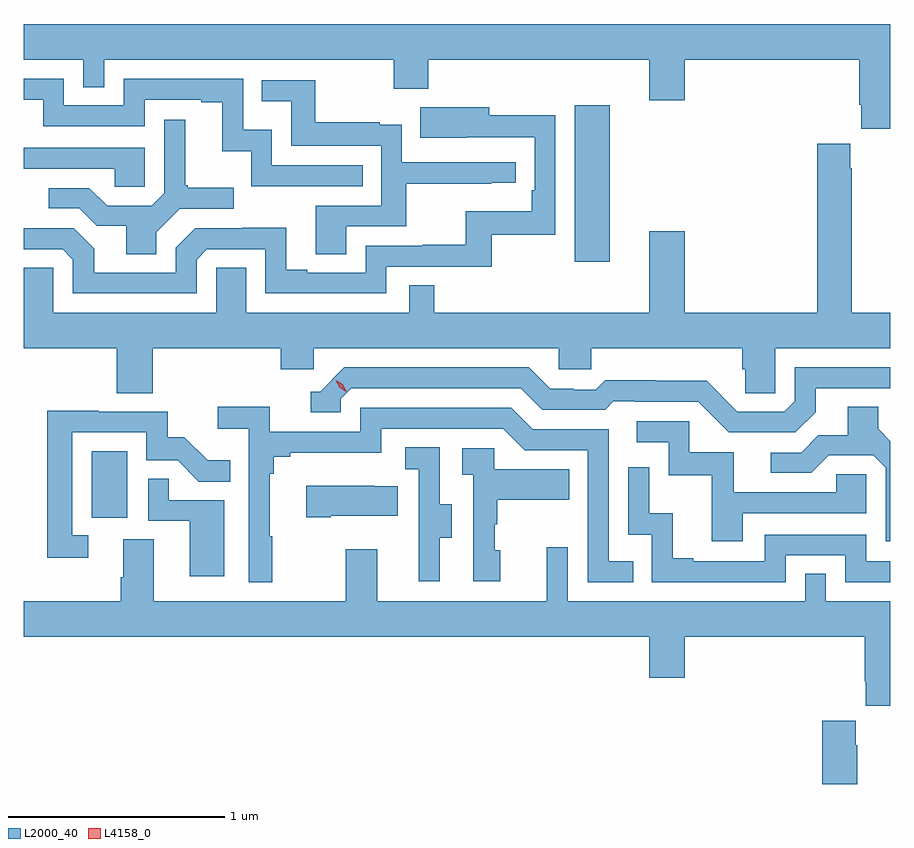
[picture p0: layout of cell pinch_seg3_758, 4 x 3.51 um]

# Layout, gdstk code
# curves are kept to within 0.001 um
import gdstk
lib = gdstk.Library(unit=1e-6, precision=1e-09)
def R(c, l, rs):  # rectangles x0, y0, x1, y1
    for r in rs: c.add(gdstk.rectangle(r[:2], r[2:], *l))
def P(c, l, *ps):  # polygons
    for p in ps: c.add(gdstk.Polygon(p, *l))
L2000_40 = (2000, 40)
L4158_0 = (4158, 0)

pinch_seg3_758 = lib.new_cell('pinch_seg3_758')
R(pinch_seg3_758, L2000_40, [(833.762,737.43,833.926,737.737), (835.991,738.612,836.152,739.333)])
P(pinch_seg3_758, L2000_40, [(833.448,739.544),(833.724,739.544),(833.724,739.417),(833.82,739.417),(833.82,739.544),(835.156,739.544),(835.156,739.409),(835.316,739.409),(835.316,739.544),(836.336,739.544),(836.336,739.356),(836.5,739.356),(836.5,739.544),(837.305,739.544),(837.305,739.336),(837.314,739.336),(837.314,739.224),(837.448,739.224),(837.448,739.708),(833.448,739.708)],
  [(835.013,739.056),(834.594,739.056),(834.594,739.219),(834.462,739.219),(834.462,739.455),(833.91,739.455),(833.91,739.332),(833.634,739.332),(833.634,739.455),(833.448,739.455),(833.448,739.359),(833.538,739.359),(833.538,739.236),(834.006,739.236),(834.006,739.359),(834.269,739.359),(834.269,739.347),(834.365,739.347),(834.365,739.121),(834.498,739.121),(834.498,738.96),(835.013,738.96)],
  [(834.937,738.774),(835.214,738.774),(835.214,738.97),(835.607,738.97),(835.607,738.975),(835.72,738.975),(835.72,739.071),(835.194,739.071),(835.194,739.243),(835.091,739.243),(835.091,739.255),(834.793,739.255),(834.793,739.449),(834.547,739.449),(834.547,739.352),(834.682,739.352),(834.682,739.146),(835.098,739.146),(835.098,738.87),(834.797,738.87),(834.797,738.646),(834.937,738.646)],
  [(834.246,738.621),(834.294,738.669),(834.564,738.669),(834.564,738.465),(835.122,738.465),(835.122,738.588),(835.609,738.588),(835.609,738.735),(835.902,738.735),(835.902,739.286),(835.597,739.286),(835.597,739.324),(835.279,739.324),(835.279,739.184),(835.806,739.185),(835.806,738.94),(835.793,738.94),(835.793,738.844),(835.488,738.844),(835.488,738.689),(835.291,738.689),(835.291,738.684),(835.026,738.684),(835.026,738.561),(834.757,738.561),(834.757,738.574),(834.661,738.574),(834.661,738.767),(834.456,738.767),(834.456,738.765),(834.24,738.765),(834.15,738.675),(834.15,738.561),(833.773,738.561),(833.773,738.671),(833.679,738.765),(833.448,738.765),(833.448,738.669),(833.628,738.669),(833.676,738.621),(833.676,738.465),(834.246,738.465)],
  [(834.061,738.748),(834.168,738.855),(834.418,738.855),(834.418,738.952),(834.205,738.952),(834.205,738.964),(834.193,738.964),(834.193,739.267),(834.096,739.267),(834.096,738.927),(834.039,738.87),(833.833,738.87),(833.752,738.951),(833.565,738.951),(833.565,738.858),(833.706,738.858),(833.786,738.778),(833.921,738.778),(833.921,738.646),(834.061,738.646)],
  [(835.343,738.503),(835.227,738.503),(835.227,738.376),(834.475,738.376),(834.475,738.584),(834.336,738.584),(834.336,738.376),(833.586,738.376),(833.586,738.584),(833.449,738.584),(833.449,738.474),(833.448,738.474),(833.448,738.212),(833.879,738.212),(833.879,738.004),(834.044,738.004),(834.044,738.212),(834.635,738.212),(834.635,738.114),(834.786,738.114),(834.786,738.212),(835.917,738.212),(835.917,738.114),(836.067,738.114),(836.067,738.212),(836.765,738.212),(836.765,738.114),(836.779,738.114),(836.779,738.004),(836.916,738.004),(836.916,738.212),(837.448,738.212),(837.448,738.376),(837.27,738.376),(837.27,739.043),(837.263,739.043),(837.263,739.156),(837.11,739.156),(837.11,738.376),(836.5,738.376),(836.5,738.751),(836.336,738.751),(836.336,738.376),(835.343,738.376)],
  [(834.006,739.137),(833.448,739.137),(833.448,739.041),(833.869,739.041),(833.869,738.957),(834.006,738.957)],
  [(837.103,737.917),(837.103,738.027),(837.448,738.027),(837.448,738.123),(837.006,738.123),(837.006,737.967),(836.958,737.919),(836.742,737.919),(836.6,738.061),(836.364,738.061),(836.364,738.064),(836.131,738.064),(836.089,738.021),(835.986,738.021),(835.986,738.024),(835.879,738.024),(835.78,738.123),(834.927,738.123),(834.816,738.012),(834.773,738.012),(834.773,737.916),(834.912,737.916),(834.912,737.979),(834.96,738.027),(835.743,738.027),(835.842,737.928),(836.131,737.928),(836.17,737.967),(836.269,737.967),(836.269,737.964),(836.562,737.964),(836.703,737.823),(837.009,737.823)],
  [(837.448,737.783),(837.391,737.84),(837.391,737.942),(837.251,737.942),(837.251,737.81),(837.116,737.81),(837.036,737.73),(836.895,737.73),(836.895,737.637),(837.082,737.637),(837.163,737.718),(837.369,737.718),(837.426,737.661),(837.426,737.322),(837.448,737.322)],
  [(834.595,737.345),(834.583,737.345),(834.583,737.633),(834.602,737.633),(834.602,737.71),(834.679,737.71),(834.679,737.729),(835.098,737.729),(835.098,737.841),(835.662,737.841),(835.761,737.742),(836.052,737.742),(836.052,737.133),(836.261,737.133),(836.261,737.229),(836.148,737.229),(836.148,737.838),(835.798,737.838),(835.699,737.937),(835.002,737.937),(835.002,737.826),(834.584,737.826),(834.584,737.942),(834.345,737.942),(834.345,737.84),(834.486,737.84),(834.486,737.133),(834.595,737.133)],
  [(833.746,737.349),(833.673,737.349),(833.673,737.823),(834.015,737.823),(834.015,737.694),(834.159,737.694),(834.257,737.596),(834.401,737.596),(834.401,737.695),(834.297,737.695),(834.19,737.802),(834.114,737.802),(834.114,737.919),(833.795,737.919),(833.795,737.924),(833.557,737.924),(833.557,737.244),(833.746,737.244)],
  [(836.767,737.451),(837.336,737.451),(837.336,737.631),(837.199,737.631),(837.199,737.547),(836.725,737.547),(836.725,737.733),(836.52,737.733),(836.52,737.874),(836.277,737.874),(836.277,737.778),(836.424,737.778),(836.424,737.625),(836.623,737.625),(836.623,737.322),(836.767,737.322)],
  [(835.369,737.338),(835.423,737.338),(835.423,737.493),(835.368,737.493),(835.368,737.756),(835.209,737.756),(835.209,737.653),(835.272,737.653),(835.272,737.349),(835.271,737.349),(835.271,737.136),(835.369,737.136)],
  [(835.648,737.28),(835.623,737.28),(835.623,737.399),(835.633,737.399),(835.633,737.513),(835.967,737.513),(835.967,737.653),(835.62,737.653),(835.62,737.751),(835.473,737.751),(835.473,737.627),(835.524,737.627),(835.524,737.136),(835.648,737.136)],
  [(836.964,737.256),(837.24,737.256),(837.24,737.133),(837.448,737.133),(837.448,737.229),(837.336,737.229),(837.336,737.352),(836.868,737.352),(836.868,737.229),(836.539,737.229),(836.539,737.242),(836.444,737.242),(836.444,737.45),(836.334,737.45),(836.334,737.662),(836.238,737.662),(836.238,737.352),(836.346,737.352),(836.346,737.133),(836.964,737.133)],
  [(834.373,737.511),(834.119,737.511),(834.119,737.609),(834.024,737.609),(834.024,737.415),(834.215,737.415),(834.215,737.16),(834.373,737.16)],
  [(834.865,737.438),(835.175,737.438),(835.175,737.575),(835.067,737.575),(835.067,737.578),(834.753,737.578),(834.753,737.431),(834.865,737.431)],
  [(837.448,737.044),(837.15,737.044),(837.15,737.171),(837.054,737.171),(837.054,737.044),(835.959,737.044),(835.959,737.293),(835.862,737.293),(835.862,737.044),(835.081,737.044),(835.081,737.284),(834.934,737.284),(834.934,737.044),(834.049,737.044),(834.049,737.33),(833.909,737.33),(833.909,737.156),(833.897,737.156),(833.897,737.044),(833.448,737.044),(833.448,736.88),(836.336,736.88),(836.336,736.692),(836.5,736.692),(836.5,736.88),(837.329,736.88),(837.329,736.675),(837.335,736.675),(837.335,736.563),(837.448,736.563)],
  [(837.294,736.379),(837.289,736.379),(837.289,736.492),(837.134,736.492),(837.134,736.201),(837.294,736.201)])
P(pinch_seg3_758, L4158_0, [(834.936,738.012),(834.905,738.032),(834.888,738.065),(834.888,738.065),(834.888,738.065),(834.92,738.046),(834.936,738.013),(834.936,738.012)])

lib.write_gds('pinch_seg3_758.gds')
